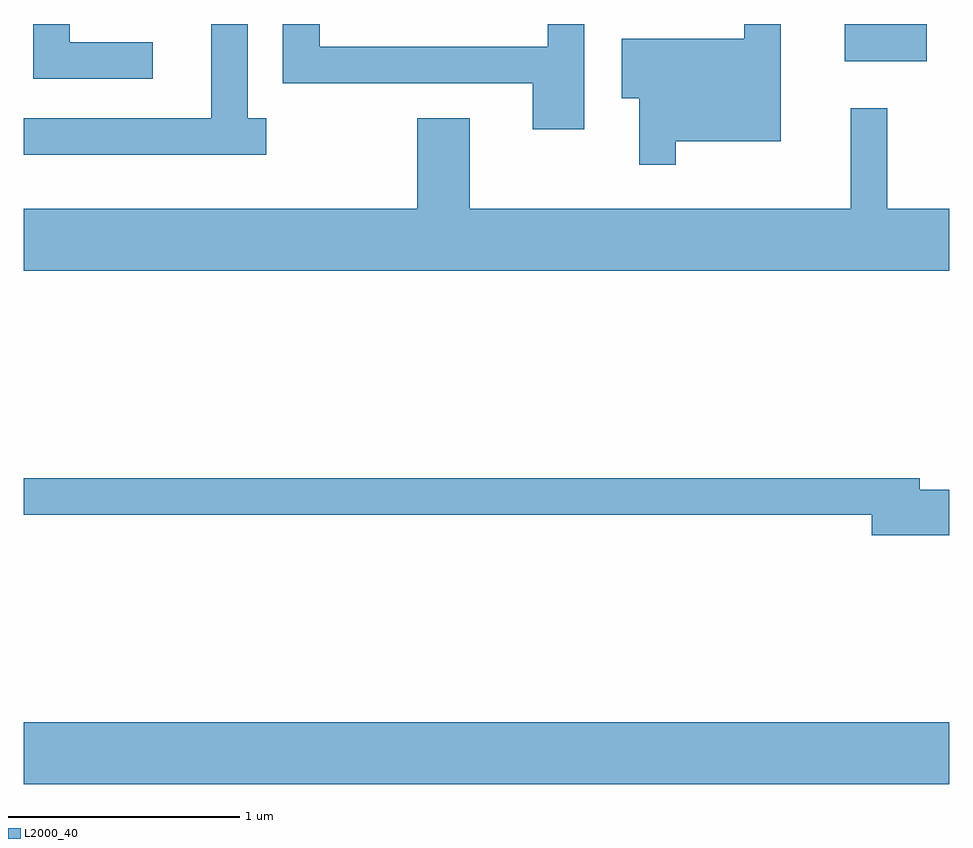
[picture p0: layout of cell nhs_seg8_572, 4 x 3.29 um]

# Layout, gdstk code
import gdstk
lib = gdstk.Library(unit=1e-6, precision=1e-09)
def R(c, l, rs):  # rectangles x0, y0, x1, y1
    for r in rs: c.add(gdstk.rectangle(r[:2], r[2:], *l))
def P(c, l, *ps):  # polygons
    for p in ps: c.add(gdstk.Polygon(p, *l))
L2000_40 = (2000, 40)

nhs_seg8_572 = lib.new_cell('nhs_seg8_572')
R(nhs_seg8_572, L2000_40, [(201.611,1863.056,205.611,1863.324), (205.161,1866.181,205.514,1866.342)])
P(nhs_seg8_572, L2000_40, [(202.658,1865.934),(202.579,1865.934),(202.579,1866.342),(202.421,1866.342),(202.421,1865.934),(201.611,1865.934),(201.611,1865.776),(202.658,1865.776)],
  [(204.429,1865.836),(204.884,1865.836),(204.884,1866.342),(204.726,1866.342),(204.726,1866.279),(204.196,1866.279),(204.196,1866.021),(204.271,1866.021),(204.271,1865.733),(204.429,1865.733)],
  [(204.034,1866.342),(203.876,1866.342),(203.876,1866.244),(202.889,1866.244),(202.889,1866.342),(202.731,1866.342),(202.731,1866.086),(203.811,1866.086),(203.811,1865.886),(204.034,1865.886)],
  [(202.168,1866.264),(201.809,1866.264),(201.809,1866.342),(201.651,1866.342),(201.651,1866.106),(202.168,1866.106)],
  [(205.611,1865.544),(205.344,1865.544),(205.344,1865.978),(205.186,1865.978),(205.186,1865.544),(203.539,1865.544),(203.539,1865.934),(203.311,1865.934),(203.311,1865.544),(201.611,1865.544),(201.611,1865.276),(205.611,1865.276)],
  [(205.611,1864.329),(205.484,1864.329),(205.484,1864.379),(201.611,1864.379),(201.611,1864.221),(205.276,1864.221),(205.276,1864.131),(205.611,1864.131)])

lib.write_gds('nhs_seg8_572.gds')
